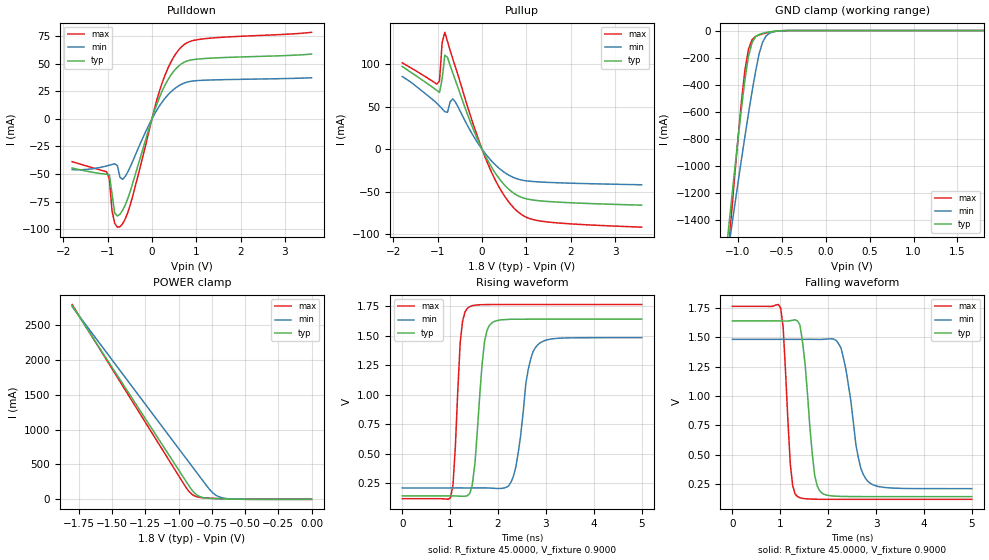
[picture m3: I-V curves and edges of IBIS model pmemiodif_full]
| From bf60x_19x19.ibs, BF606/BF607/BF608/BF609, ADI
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[Model]  pmemiodif_full
Model_type I/O
Polarity   Non-Inverting
Enable   Active-Low
Vinl =   0.6500V
Vinh =   1.1500V
Vmeas =  0.9000V
Cref =   10.0000pF
Rref =   45.0000
Vref =   0.9000V
C_comp   3.6776pF   4.0116pF   3.4337pF
[Temperature Range]   25.0000   0.1250k   0.0
[Voltage Range]   1.8000V   1.7000V   1.9000V
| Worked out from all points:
|   slope of the pulldown table from 0 to 0.27 V, typ, clamps not added: 9.41 ohm
|   slope of the pullup table from 0 to 0.27 V, typ, clamps not added: 10.5 ohm
|   GND clamp passes 1 mA (typ) near -0.49 V on its own axis
|   POWER clamp passes 1 mA (typ) near -0.53 V on its own axis
|   rising waveform, R_fixture 45.0000, V_fixture 0.9000: 20-80 % time 166ps typ, 235ps min, 117ps max; typ from 0.142 V to 1.64 V
|   falling waveform, R_fixture 45.0000, V_fixture 0.9000: 20-80 % time 187ps typ, 265ps min, 126ps max; typ from 1.64 V to 0.142 V
[Pulldown]
|Voltage   I(typ)   I(min)   I(max)
-1.8V     -44.54mA   -46.03mA   -38.8mA
-1.02V    -50.26mA   -42.64mA   -48.06mA
-960mV    -50.51mA   -42.02mA   -54.71mA
-900mV    -68.05mA   -41.38mA   -83.34mA
-840mV    -85.43mA   -40.66mA   -94.91mA
-780mV    -88.16mA   -42.37mA   -98.29mA
-720mV    -86.47mA   -53.03mA   -97.9mA
-480mV    -64.55mA   -42.74mA   -76.85mA
240mV     26.22mA    15.91mA    33.81mA
660mV     49.91mA    31.38mA    65.26mA
1.2V      54.95mA    35.23mA    72.95mA
3.6V      58.92mA    37.46mA    78.71mA
[Pullup]
|Voltage   I(typ)   I(min)   I(max)
-1.8V     97.36mA    85.53mA    101.7mA
-1.02V    69.26mA    54.11mA    76.6mA
-960mV    66.84mA    51mA       80.44mA
-900mV    82.93mA    47.56mA    125.5mA
-840mV    110.6mA    44.17mA    137.6mA
-780mV    108.2mA    43.43mA    127.1mA
-660mV    89.64mA    59.32mA    106.3mA
-240mV    28.95mA    19.54mA    35.9mA
120mV     -12.46mA   -8.155mA   -15.9mA
480mV     -40.59mA   -26.37mA   -53.01mA
900mV     -56.89mA   -36.38mA   -77.26mA
3.6V      -65.9mA    -41.87mA   -91.75mA
[GND_clamp]
|Voltage   I(typ)   I(min)   I(max)
-1.8V     -6.07A     -4.897A    -7.407A
-1.12V    -1.546A    -1.671A    -1.719A
-1.08V    -1.294A    -1.488A    -1.405A
-1V       -805.7mA   -1.129A    -801.4mA
-960mV    -575.4mA   -952.7mA   -523.3mA
-920mV    -361.5mA   -780.6mA   -288.5mA
-880mV    -190.9mA   -613.7mA   -138.4mA
-840mV    -90.95mA   -454mA     -68.74mA
-800mV    -46.75mA   -305.2mA   -44mA
-720mV    -20.71mA   -87mA      -25.14mA
-600mV    -6.431mA   -9.607mA   -8.762mA
1.8V      90.74pA    38.42nA    69.76pA
[POWER_clamp]
|Voltage   I(typ)   I(min)   I(max)
-1.8V     2.775A     2.761A     2.791A
-960mV    306.4mA    628.6mA    218.5mA
-920mV    189.6mA    527.3mA    109.9mA
-900mV    135.2mA    476.7mA    73.19mA
-880mV    91.17mA    426mA      49.38mA
-840mV    39.16mA    324.6mA    27.86mA
-760mV    13.35mA    127mA      16mA
-720mV    9.728mA    59.79mA    12.42mA
-680mV    7.061mA    25.52mA    9.287mA
-540mV    1.16mA     1.976mA    1.701mA
0V        90.74pA    3.819nA    81.5pA
[Ramp]
| variable   typ   min   max
dV/dt_r  0.8890/0.1825n   0.7520/0.3119n   0.9812/0.1322n
dV/dt_f  0.9071/0.2031n   0.7545/0.3560n   0.9987/0.1454n
R_load = 50.0000
[Rising Waveform]
R_fixture= 45.0000
V_fixture= 0.9000
V_fixture_min= 0.8500
V_fixture_max= 0.9500
L_fixture= 0.0H
C_fixture= 0.0F
|time   V(typ)   V(min)   V(max)
0s        142.3mV    209.9mV    119.1mV
1.01ns    142.4mV    209.9mV    129.3mV
1.21ns    139.8mV    210mV      1.44V
1.36ns    143.8mV    209.9mV    1.73V
1.52ns    423.8mV    210mV      1.757V
1.72ns    1.454V     210mV      1.762V
1.87ns    1.606V     208.2mV    1.763V
2.32ns    1.638V     305.5mV    1.763V
2.83ns    1.638V     1.421V     1.763V
5ns       1.638V     1.482V     1.763V
[Falling Waveform]
R_fixture= 45.0000
V_fixture= 0.9000
V_fixture_min= 0.8500
V_fixture_max= 0.9500
L_fixture= 0.0H
C_fixture= 0.0F
|time   V(typ)   V(min)   V(max)
0s        1.638V     1.482V     1.763V
1.01ns    1.638V     1.482V     1.746V
1.21ns    1.64V      1.482V     418.8mV
1.36ns    1.639V     1.482V     142.8mV
1.72ns    320.3mV    1.482V     120.4mV
1.82ns    192.8mV    1.482V     119.7mV
2.27ns    144mV      1.407V     119.1mV
2.63ns    142.5mV    475.4mV    119.1mV
2.83ns    142.4mV    272.5mV    119.1mV
5ns       142.3mV    210mV      119.1mV
